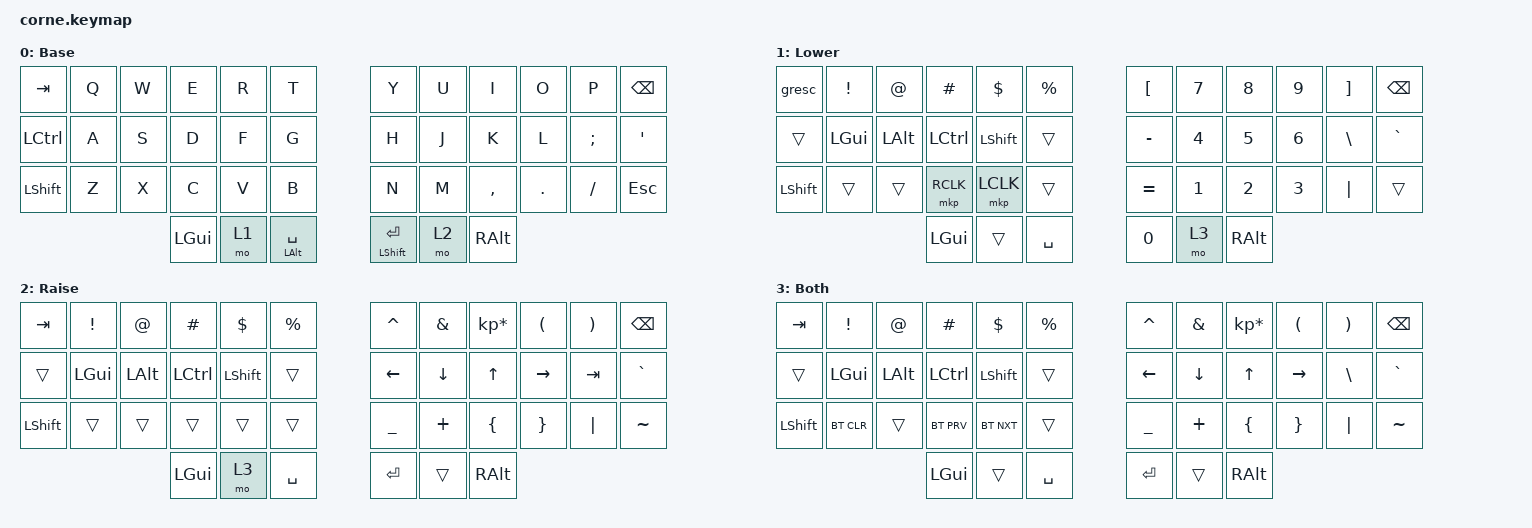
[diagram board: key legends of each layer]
/*
 * Copyright (c) 2020 The ZMK Contributors
 *
 * SPDX-License-Identifier: MIT
 */

#include <behaviors.dtsi>
#include <dt-bindings/zmk/keys.h>
#include <dt-bindings/zmk/bt.h>
#include <dt-bindings/zmk/mouse.h>
#include <dt-bindings/zmk/pointing.h>

&mt {
        tapping-term-ms = <500>;
};


/ {
         behaviors {
                hm: homerow_mods {
                compatible = "zmk,behavior-hold-tap";
                #binding-cells = <2>;
                tapping-term-ms = <150>;
                quick-tap-ms = <0>;
                flavor = "tap-preferred";
                bindings = <&kp>, <&kp>;
                };
        };
        keymap {
                compatible = "zmk,keymap";

                default_layer {
// -----------------------------------------------------------------------------------------
// |  TAB |  Q  |  W  |  E  |  R  |  T  |   |  Y  |  U   |  I  |  O  |  P  | BKSP |
// | CTRL |  A  |  S  |  D  |  F  |  G  |   |  H  |  J   |  K  |  L  |  ;  |  '   |
// | SHFT |  Z  |  X  |  C  |  V  |  B  |   |  N  |  M   |  ,  |  .  |  /  | ESC  |
//                    | GUI | LWR | SPC |   | ENT | RSE  | ALT |
                        display-name = "Base";
                        bindings = <
   &kp TAB   &kp Q &kp W &kp E &kp R &kp T   &kp Y &kp U  &kp I     &kp O   &kp P    &kp BSPC
   &kp LCTRL &kp A &kp S &kp D &kp F &kp G   &kp H &kp J  &kp K     &kp L   &kp SEMI &kp SQT
   &kp LSHFT &kp Z &kp X &kp C &kp V &kp B   &kp N &kp M  &kp COMMA &kp DOT &kp FSLH &kp ESC
                  &kp LGUI &mo 1 &mt LALT SPACE   &mt LSHFT RETURN &mo 2 &kp RALT
                        >;
                };
                lower_layer {
// -----------------------------------------------------------------------------------------
// |  TAB |  1  |  2  |  3  |  4  |  5  |   |  6  |  7  |  8  |  9  |  0  | BKSP |
// | BTCLR| BT1 | BT2 | BT3 | BT4 | BT5 |   | LFT | DWN |  UP | RGT |     |      |
// | SHFT |     |     |     |     |     |   |     |     |     |     |     |      |
//                    | GUI |     | SPC |   | ENT |     | ALT |
                        display-name = "Lower";
                        bindings = <
   &gresc    &kp EXCL   &kp AT   &kp HASH  &kp DLLR      &kp PRCNT              &kp LEFT_BRACKET    &kp N7   &kp N8   &kp N9 &kp RIGHT_BRACKET    &kp BSPC
   &trans    &kp LGUI   &kp LALT &kp LCTRL &kp LSHIFT    &trans                  &kp MINUS           &kp N4   &kp N5   &kp N6 &kp BSLH             &kp GRAVE
   &kp LSHFT &trans     &trans  &mkp RCLK   &mkp LCLK    &trans                   &kp EQUAL           &kp N1   &kp N2   &kp N3 &kp PIPE             &trans
                          	        &kp LGUI     &trans   &kp SPACE     &kp N0               &mo 3   &kp RALT
                        >;
                };

                raise_layer {
// -----------------------------------------------------------------------------------------
// |  TAB |  !  |  @  |  #  |  $  |  %  |   |  ^  |  &  |  *  |  (  |  )  | BKSP |
// | CTRL |     |     |     |     |     |   | LFT | DWN |  UP | RGT |  `   |
// | SHFT |     |     |     |     |     |   |  _   |  +  |  {  |  }  | "|" |  ~   |
//                    | GUI |     | SPC |   | ENT |     | ALT |
                        display-name = "Raise";
                        bindings = <
   &kp  TAB  &kp EXCL &kp AT &kp HASH &kp DLLR &kp PRCNT        &kp CARET &kp AMPS  &kp KP_MULTIPLY &kp LPAR &kp RPAR &kp BSPC
   &trans   &kp LGUI  &kp LALT &kp LCTRL &kp LSHIFT  &trans     &kp LEFT  &kp DOWN  &kp UP          &kp RIGHT &kp TAB &kp GRAVE
   &kp LSHFT &trans   &trans &trans   &trans   &trans           &kp UNDER &kp PLUS  &kp LBRC        &kp RBRC &kp PIPE &kp TILDE
                    	     &kp LGUI &mo 3   &kp SPACE         &kp RET   &trans    &kp RALT
                        >;
                };
        
                both_layer {
// -----------------------------------------------------------------------------------------
// |  TAB |  !  |  @  |  #  |  $  |  %  |   |  ^  |  &  |  *  |  (  |  )  | BKSP |
// | CTRL |     |     |     |     |     |   | LFT | DWN |  UP | RGT |  `   |
// | SHFT |     |     |     |     |     |   |  _   |  +  |  {  |  }  | "|" |  ~   |
//                    | GUI |     | SPC |   | ENT |     | ALT |
                        display-name = "Both";
                        bindings = <
   &kp  TAB  &kp EXCL &kp AT &kp HASH &kp DLLR &kp PRCNT      &kp CARET &kp AMPS  &kp KP_MULTIPLY &kp LPAR &kp RPAR &kp BSPC
   &trans &kp LGUI  &kp LALT &kp LCTRL &kp LSHIFT &trans      &kp LEFT  &kp DOWN  &kp UP          &kp RIGHT &kp BSLH &kp GRAVE
   &kp LSHFT &bt BT_CLR   &trans &bt BT_PRV    &bt BT_NXT   &trans         &kp UNDER &kp PLUS  &kp LBRC        &kp RBRC &kp PIPE &kp TILDE
                    	     &kp LGUI &trans   &kp SPACE      &kp RET   &trans    &kp RALT
                        >;
                };

                extra_1 {
                        status = "reserved";
                };

                extra_2 {
                        status = "reserved";
                };

                extra_3 {
                        status = "reserved";
                };
        };
};

